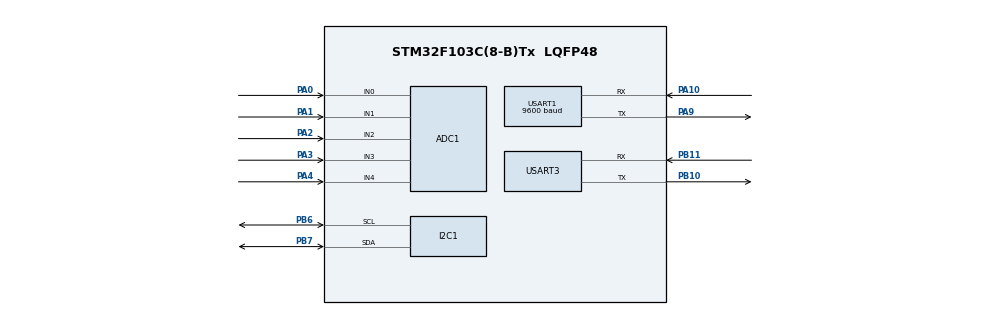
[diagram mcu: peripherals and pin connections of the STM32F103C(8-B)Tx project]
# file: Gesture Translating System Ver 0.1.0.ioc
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ADC1.Channel-0\#ChannelRegularConversion=ADC_CHANNEL_0
ADC1.Channel-1\#ChannelRegularConversion=ADC_CHANNEL_1
ADC1.Channel-2\#ChannelRegularConversion=ADC_CHANNEL_2
ADC1.Channel-3\#ChannelRegularConversion=ADC_CHANNEL_3
ADC1.Channel-4\#ChannelRegularConversion=ADC_CHANNEL_4
ADC1.NbrOfConversion=5
ADC1.NbrOfConversionFlag=1
ADC1.Rank-0\#ChannelRegularConversion=1
ADC1.Rank-1\#ChannelRegularConversion=2
ADC1.Rank-2\#ChannelRegularConversion=3
ADC1.Rank-3\#ChannelRegularConversion=4
ADC1.Rank-4\#ChannelRegularConversion=5
ADC1.SamplingTime-0\#ChannelRegularConversion=ADC_SAMPLETIME_13CYCLES_5
ADC1.SamplingTime-1\#ChannelRegularConversion=ADC_SAMPLETIME_13CYCLES_5
ADC1.SamplingTime-2\#ChannelRegularConversion=ADC_SAMPLETIME_13CYCLES_5
ADC1.SamplingTime-3\#ChannelRegularConversion=ADC_SAMPLETIME_13CYCLES_5
ADC1.SamplingTime-4\#ChannelRegularConversion=ADC_SAMPLETIME_13CYCLES_5
ADC1.master=1
Dma.ADC1.0.Direction=DMA_PERIPH_TO_MEMORY
Dma.ADC1.0.Instance=DMA1_Channel1
Dma.ADC1.0.MemDataAlignment=DMA_MDATAALIGN_HALFWORD
Dma.ADC1.0.MemInc=DMA_MINC_ENABLE
Dma.ADC1.0.Mode=DMA_CIRCULAR
Dma.ADC1.0.PeriphDataAlignment=DMA_PDATAALIGN_HALFWORD
Dma.ADC1.0.PeriphInc=DMA_PINC_DISABLE
Dma.ADC1.0.Priority=DMA_PRIORITY_LOW
Dma.Request0=ADC1
Mcu.Family=STM32F1
Mcu.Name=STM32F103C(8-B)Tx
Mcu.Package=LQFP48
NVIC.DMA1_Channel1_IRQn=true\:0\:0\:false\:false\:true\:false\:true\:true
NVIC.PriorityGroup=NVIC_PRIORITYGROUP_4
NVIC.USART1_IRQn=true\:0\:0\:false\:false\:true\:true\:true\:true
PA0-WKUP.Signal=ADCx_IN0
PA1.Signal=ADCx_IN1
PA10.Mode=Asynchronous
PA10.Signal=USART1_RX
PA13.Mode=Serial_Wire
PA13.Signal=SYS_JTMS-SWDIO
PA14.Mode=Serial_Wire
PA14.Signal=SYS_JTCK-SWCLK
PA2.Signal=ADCx_IN2
PA3.Signal=ADCx_IN3
PA4.Signal=ADCx_IN4
PA9.Mode=Asynchronous
PA9.Signal=USART1_TX
PB10.Mode=Asynchronous
PB10.Signal=USART3_TX
PB11.Mode=Asynchronous
PB11.Signal=USART3_RX
PB6.Mode=I2C
PB6.Signal=I2C1_SCL
PB7.Mode=I2C
PB7.Signal=I2C1_SDA
ProjectManager.HeapSize=0x200
ProjectManager.StackSize=0x400
ProjectManager.TargetToolchain=STM32CubeIDE
RCC.APB1Freq_Value=8000000
RCC.APB2Freq_Value=8000000
SH.ADCx_IN0.0=ADC1_IN0,IN0
SH.ADCx_IN1.0=ADC1_IN1,IN1
SH.ADCx_IN2.0=ADC1_IN2,IN2
SH.ADCx_IN3.0=ADC1_IN3,IN3
SH.ADCx_IN4.0=ADC1_IN4,IN4
USART1.BaudRate=9600
USART1.VirtualMode=VM_ASYNC
USART3.VirtualMode=VM_ASYNC
board=custom

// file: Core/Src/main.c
/* USER CODE BEGIN Header */
/**
  ******************************************************************************
  * @file           : main.c
  * @brief          : Main program body
  ******************************************************************************
  * @attention
  *
  * Copyright (c) 2023 STMicroelectronics.
  * All rights reserved.
  *
  * This software is licensed under terms that can be found in the LICENSE file
  * in the root directory of this software component.
  * If no LICENSE file comes with this software, it is provided AS-IS.
  *
  ******************************************************************************
  */
/* USER CODE END Header */
#include "main.h"

/* USER CODE BEGIN Includes */
#include "stdio.h"
#include "DFPLAYER.h"
#include "i2c-lcd.h"
#include <String.h>
#include <math.h>
#include <stdlib.h>
/* USER CODE END Includes */

/* USER CODE BEGIN PTD */

DFPLAYER_Name MP3;
/* USER CODE END PTD */

ADC_HandleTypeDef hadc1;
DMA_HandleTypeDef hdma_adc1;

I2C_HandleTypeDef hi2c1;

UART_HandleTypeDef huart1;
UART_HandleTypeDef huart3;

/* USER CODE BEGIN PV */
uint16_t flex[5];
char* send_string;

/* USER CODE END PV */

void SystemClock_Config(void);
static void MX_GPIO_Init(void);
static void MX_DMA_Init(void);
static void MX_ADC1_Init(void);
static void MX_I2C1_Init(void);
static void MX_USART1_UART_Init(void);
static void MX_USART3_UART_Init(void);

/* USER CODE BEGIN 0 */
/******************************************************************************/

#define MPU6050_ADDR 0xD0

#define SMPLRT_DIV_REG 0x19
#define GYRO_CONFIG_REG 0x1B
#define ACCEL_CONFIG_REG 0x1C
#define ACCEL_XOUT_H_REG 0x3B
#define TEMP_OUT_H_REG 0x41
#define GYRO_XOUT_H_REG 0x43
#define PWR_MGMT_1_REG 0x6B
#define WHO_AM_I_REG 0x75

#define CONTAINER_SIZE 10
#define GESTURE_SIZE 5
#define NUM_GESTURES 4
/******************************************************************************/

int16_t Accel_X_RAW = 0;
int16_t Accel_Y_RAW = 0;
int16_t Accel_Z_RAW = 0;

int16_t Gyro_X_RAW = 0;
int16_t Gyro_Y_RAW = 0;
int16_t Gyro_Z_RAW = 0;
/******************************************************************************/

int palm_stat = 0;
int arm_position_vertical = 0;

int arm_movement_horizonal = 0;
int arm_movement_vertical = 0;
int arm_movement_rotation = 0;

float Ax, Ay, Az;
int Gx, Gy, Gz;
/******************************************************************************/
int hit;
char buffer[12];
int number;
/******************************************************************************/

unsigned long long int gesture0[GESTURE_SIZE] = {11000000031, 11000000231, 11000000031,	11000000131, 11000000031}; //xin chao
unsigned long long int gesture1[GESTURE_SIZE] = {10000000041, 10000000141, 10000000041, 10000000241, 10000000041}; //tam biet
unsigned long long int gesture2[GESTURE_SIZE] = {10122200022, 10022200022, 10122200022, 10022200022, 10122200022}; // thanh toan
unsigned long long int gesture3[GESTURE_SIZE] = {10000000021, 10000000121, 10000000021,	10000000221, 10000000021}; // xin loi
//unsigned long long int gesture4[GESTURE_SIZE] = {11011100041, 11011100041, 11011100041, 11011100041, 11011100041}; // tinh tien

unsigned long long int vectorOfGestures[NUM_GESTURES][GESTURE_SIZE] = {
	{11000000031, 11000000231, 11000000031,	11000000131, 11000000031},
	{10000000041, 10000000141, 10000000041, 10000000241, 10000000041},
	{10122200022, 10022200022, 10122200022, 10022200022, 10122200022},
	{10000000021, 10000000121, 10000000021,	10000000221, 10000000021}
//	{11011100041, 11011100041, 11011100041, 11011100041, 11011100041}
};

unsigned long long int container[CONTAINER_SIZE] = {0, 0, 0, 0, 0, 0, 0, 0, 0, 0};
/******************************************************************************/

unsigned long long int code;			//Number that display the fingers's status
int	finger_stat[5] = {0, 0, 0, 0, 0};	//Array storing the fingers's status number (0, 1 or 2)
int max[5] = {0, 0, 0, 0, 0};			//Array storing the maximum input of each finger
int min[5] = {0, 0, 0, 0, 0};			//Array storing the minimum input of each finger
/******************************************************************************/

void MPU6050_Init (void) {
	uint8_t check;
	uint8_t Data;

	// check device ID WHO_AM_I

	HAL_I2C_Mem_Read (&hi2c1, MPU6050_ADDR,WHO_AM_I_REG,1, &check, 1, 1000);

	if (check == 104)  // 0x68 will be returned by the sensor if everything goes well
	{
		// power management register 0X6B we should write all 0's to wake the sensor up
		Data = 0;
		HAL_I2C_Mem_Write(&hi2c1, MPU6050_ADDR, PWR_MGMT_1_REG, 1,&Data, 1, 1000);

		// Set DATA RATE of 1KHz by writing SMPLRT_DIV register
		Data = 0x07;
		HAL_I2C_Mem_Write(&hi2c1, MPU6050_ADDR, SMPLRT_DIV_REG, 1, &Data, 1, 1000);

		// Set accelerometer configuration in ACCEL_CONFIG Register
		// XA_ST=0,YA_ST=0,ZA_ST=0, FS_SEL=0 -> ± 2g
		Data = 0x00;
		HAL_I2C_Mem_Write(&hi2c1, MPU6050_ADDR, ACCEL_CONFIG_REG, 1, &Data, 1, 1000);

		// Set Gyroscopic configuration in GYRO_CONFIG Register
		// XG_ST=0,YG_ST=0,ZG_ST=0, FS_SEL=0 -> ± 250 °/s
		Data = 0x00;
		HAL_I2C_Mem_Write(&hi2c1, MPU6050_ADDR, GYRO_CONFIG_REG, 1, &Data, 1, 1000);
	}

}
/******************************************************************************/

void MPU6050_Read_Accel (void) {
	uint8_t Rec_Data[6];

	// Read 6 BYTES of data starting from ACCEL_XOUT_H register

	HAL_I2C_Mem_Read (&hi2c1, MPU6050_ADDR, ACCEL_XOUT_H_REG, 1, Rec_Data, 6, 1000);

	Accel_X_RAW = (int16_t)(Rec_Data[0] << 8 | Rec_Data [1]);
	Accel_Y_RAW = (int16_t)(Rec_Data[2] << 8 | Rec_Data [3]);
	Accel_Z_RAW = (int16_t)(Rec_Data[4] << 8 | Rec_Data [5]);

	/*** convert the RAW values into acceleration in 'g'
	     we have to divide according to the Full scale value set in FS_SEL
	     I have configured FS_SEL = 0. So I am dividing by 16384.0
	     for more details check ACCEL_CONFIG Register              ****/

	Ax = Accel_X_RAW/16384.0;
	Ay = Accel_Y_RAW/16384.0;
	Az = Accel_Z_RAW/16384.0;
}
/******************************************************************************/

void MPU6050_Read_Gyro (void) {
	uint8_t Rec_Data[6];

	// Read 6 BYTES of data starting from GYRO_XOUT_H register

	HAL_I2C_Mem_Read (&hi2c1, MPU6050_ADDR, GYRO_XOUT_H_REG, 1, Rec_Data, 6, 1000);

	Gyro_X_RAW = (int16_t)(Rec_Data[0] << 8 | Rec_Data [1]);
	Gyro_Y_RAW = (int16_t)(Rec_Data[2] << 8 | Rec_Data [3]);
	Gyro_Z_RAW = (int16_t)(Rec_Data[4] << 8 | Rec_Data [5]);

	/*** convert the RAW values into dps (°/s)
	     we have to divide according to the Full scale value set in FS_SEL
	     I have configured FS_SEL = 0. So I am dividing by 131.0
	     for more details check GYRO_CONFIG Register              ****/

	Gx = Gyro_X_RAW/131.0;
	Gy = Gyro_Y_RAW/131.0;
	Gz = Gyro_Z_RAW/131.0;
}
/******************************************************************************/

void acceleration_input_processing(){
	  if(Gx < -40){
		  arm_movement_vertical = 2;
	  } else if (Gx < 40){
		  arm_movement_vertical = 0;
	  } else {
		  arm_movement_vertical = 1;
	  }

	  if(Gy < -40){
		  arm_movement_rotation = 2;
	  } else if (Gy < 40){
		  arm_movement_rotation = 0;
	  } else {
		  arm_movement_rotation = 1;
	  }

	  if(Gz < -40){
		  arm_movement_horizonal = 2;
	  } else if (Gz < 40){
		  arm_movement_horizonal = 0;
	  } else {
		  arm_movement_horizonal = 1;
	  }
}
/******************************************************************************/

void gyroscope_input_processing(){
	if(Ax > -0.7 && Ax < 0.7){
		if (Az > -0.5){
			palm_stat = 1;
		} else {
			palm_stat = 2;
		}
	} else {
		palm_stat = 0;
	}

	if(Ay < -0.8){
		arm_position_vertical = 0;
	} else if(Ay < -0.3 ){
		arm_position_vertical = 1;
	} else if(Ay < 0.3 ){
		arm_position_vertical = 2;
	} else if(Ay < 0.8 ){
		arm_position_vertical = 3;
	}	else {
		arm_position_vertical = 4;
	}
}

/***********************************************************************************
	Function that processing the input value
	- Input: Index (Order of the finger)
	- Output: Post - processing input value (Finger status, value: 0, 1 or 2)
***********************************************************************************/
int input_processing(int index){

	//Finding the minimum input value
	  if (min[index] == 0 || flex[index] < min[index]){
		  min[index] = flex[index];
	  }

	//Finding the maximum input value
	  if (flex[index] > max[index]){
		  max[index] = flex[index];
	  };

	//Defying the division mark
	  int tri = (max[index] - min[index])/3;

	//Dividing the input range into 3 stage: 0 for maximum, 1 for medium and 2 for minium
	  if(flex[index] > min[index] + 2 * tri){
		  return 0;
	  } else if (flex[index] > min[index] + 0.75 * tri){
		  return 1;
	  } else {
		  return 2;
	  }
}
/******************************************************************************/

int containsAndRemoveSubVector(unsigned long long int container[], int containerSize,
								unsigned long long int sample[], int sampleSize) {
    if (sampleSize == 0 || containerSize == 0 || sampleSize > containerSize) {
        return 0;
    }

    for (int i = 0; i <= containerSize - sampleSize; ++i) {
        int found = 1;
        for (int j = 0; j < sampleSize; ++j) {
            if (container[i + j] != sample[j]) {
                found = 0;
                break;
            }
        }
        if (found) {
            // Remove the sample array from the container array
            for (int k = i; k < containerSize; k++) {
                container[k] = 0;
            }
            return 1;
        }
    }
    return 0;
}
/******************************************************************************/
void dataProcessing(unsigned long long int inp_data) {
    if (container[CONTAINER_SIZE - 1] == inp_data) return;
	// O(n) can be improved
	for (int i = 0; i < CONTAINER_SIZE - 1; i++) {
        container[i] = container[i + 1];
    }
    container[CONTAINER_SIZE - 1] = inp_data;

    for (int i = 0; i < NUM_GESTURES; i++) {
        if (containsAndRemoveSubVector(container, CONTAINER_SIZE, vectorOfGestures[i], GESTURE_SIZE)) {
        	number = i;
        	hit = 1;
            return;
        }
    }
}
/***********************************************/
/* USER CODE END 0 */

int main(void)
{

  /* MCU Configuration--------------------------------------------------------*/

  /* Reset of all peripherals, Initializes the Flash interface and the Systick. */
  HAL_Init();

  /* Configure the system clock */
  SystemClock_Config();

  /* Initialize all configured peripherals */
  MX_GPIO_Init();
  MX_DMA_Init();
  MX_ADC1_Init();
  MX_I2C1_Init();
  MX_USART1_UART_Init();
  MX_USART3_UART_Init();
  /* USER CODE BEGIN 2 */
  DFPLAYER_Init(&MP3, &huart1);
  DFPLAYER_SetVolume(&MP3, 20);
  lcd_init();
  lcd_clear_display();
  MPU6050_Init();
  //Showing start message
  lcd_goto_XY(1, 1);
  lcd_send_string("\nCalibrating...");
  HAL_Delay(1000);
  //Clear the LCD display again
  lcd_clear_display();

  /* USER CODE END 2 */

  /* Infinite loop */
  while (1)
  {

    /* USER CODE BEGIN 3 */

	  HAL_ADC_Start_DMA(&hadc1, (uint32_t*)flex, 5);
	  MPU6050_Read_Accel();
	  MPU6050_Read_Gyro();

	  hit = 0;

	  acceleration_input_processing();
	  gyroscope_input_processing();

	  //Processing the input value
	  for(int i = 0; i < 5; i++){
		  finger_stat[i] = input_processing(i);
	  }

	  code = 10000000000 + palm_stat			//Up: 1; Ngang: 0; Ngua: 2
			+ arm_position_vertical * 10		//Goc cao xuong thap: 4 - 3 - 2 - 1 - 0
			+ arm_movement_horizonal * 100		//Huong trai: 1, huong phai: 2
			+ arm_movement_vertical * 1000		//Huong len: 1, huong xuong: 2
			+ arm_movement_rotation * 10000		//Mo ra: 1, up lai: 2
			+ finger_stat[0] * 100000			//Duoi: 0, gap vua: 1, gap han: 2
			+ finger_stat[1] * 1000000
			+ finger_stat[2] * 10000000
			+ finger_stat[3] * 100000000
			+ finger_stat[4] * 1000000000;

	  //Display the status code in LCD (debug config)
	  lcd_goto_XY(2, 1);
	  sprintf (buffer, "/%llu ", code);
	  lcd_send_string(buffer);

	  //Process function
	  dataProcessing(code);

	  //Display gesture output in LCD (debug config)
	  lcd_goto_XY(1, 1);
	  sprintf (buffer, "/%d ", number);
	  lcd_send_string(buffer);

	  if (hit == 1){
		  switch (number){
			  case 0:
				  send_string = "\nXin chao ";
				  HAL_UART_Transmit(&huart1, (uint8_t*)send_string, strlen(send_string), 1000);
 //				  DFPLAYER_PlayFileInFolder(&MP3, 01, 002);
				  break;
			  case 1:
				  send_string = "\nTam biet ";
				  HAL_UART_Transmit(&huart1, (uint8_t*)send_string, strlen(send_string), 1000);
//				  DFPLAYER_PlayFileInFolder(&MP3, 01, 001);
				  break;
			  case 2:
				  send_string = "\nThanh toan ";
				  HAL_UART_Transmit(&huart1, (uint8_t*)send_string, strlen(send_string), 1000);
//				  DFPLAYER_PlayFileInFolder(&MP3, 01, 003);
				  break;
			  case 3:
				  send_string = "\nXin loi ";
				  HAL_UART_Transmit(&huart1, (uint8_t*)send_string, strlen(send_string), 1000);
//				  DFPLAYER_PlayFileInFolder(&MP3, 01, 004);
				  break;

		  }
	  }

	  HAL_Delay(200);
	}

  /* USER CODE END 3 */
}

void SystemClock_Config(void)
{
  RCC_OscInitTypeDef RCC_OscInitStruct = {0};
  RCC_ClkInitTypeDef RCC_ClkInitStruct = {0};
  RCC_PeriphCLKInitTypeDef PeriphClkInit = {0};

  /** Initializes the RCC Oscillators according to the specified parameters
  * in the RCC_OscInitTypeDef structure.
  */
  RCC_OscInitStruct.OscillatorType = RCC_OSCILLATORTYPE_HSI;
  RCC_OscInitStruct.HSIState = RCC_HSI_ON;
  RCC_OscInitStruct.HSICalibrationValue = RCC_HSICALIBRATION_DEFAULT;
  RCC_OscInitStruct.PLL.PLLState = RCC_PLL_NONE;
  if (HAL_RCC_OscConfig(&RCC_OscInitStruct) != HAL_OK)
  {
    Error_Handler();
  }

  /** Initializes the CPU, AHB and APB buses clocks
  */
  RCC_ClkInitStruct.ClockType = RCC_CLOCKTYPE_HCLK|RCC_CLOCKTYPE_SYSCLK
                              |RCC_CLOCKTYPE_PCLK1|RCC_CLOCKTYPE_PCLK2;
  RCC_ClkInitStruct.SYSCLKSource = RCC_SYSCLKSOURCE_HSI;
  RCC_ClkInitStruct.AHBCLKDivider = RCC_SYSCLK_DIV1;
  RCC_ClkInitStruct.APB1CLKDivider = RCC_HCLK_DIV1;
  RCC_ClkInitStruct.APB2CLKDivider = RCC_HCLK_DIV1;

  if (HAL_RCC_ClockConfig(&RCC_ClkInitStruct, FLASH_LATENCY_0) != HAL_OK)
  {
    Error_Handler();
  }
  PeriphClkInit.PeriphClockSelection = RCC_PERIPHCLK_ADC;
  PeriphClkInit.AdcClockSelection = RCC_ADCPCLK2_DIV2;
  if (HAL_RCCEx_PeriphCLKConfig(&PeriphClkInit) != HAL_OK)
  {
    Error_Handler();
  }
}

static void MX_ADC1_Init(void)
{

  ADC_ChannelConfTypeDef sConfig = {0};

  /** Common config
  */
  hadc1.Instance = ADC1;
  hadc1.Init.ScanConvMode = ADC_SCAN_ENABLE;
  hadc1.Init.ContinuousConvMode = DISABLE;
  hadc1.Init.DiscontinuousConvMode = DISABLE;
  hadc1.Init.ExternalTrigConv = ADC_SOFTWARE_START;
  hadc1.Init.DataAlign = ADC_DATAALIGN_RIGHT;
  hadc1.Init.NbrOfConversion = 5;
  if (HAL_ADC_Init(&hadc1) != HAL_OK)
  {
    Error_Handler();
  }

  /** Configure Regular Channel
  */
  sConfig.Channel = ADC_CHANNEL_0;
  sConfig.Rank = ADC_REGULAR_RANK_1;
  sConfig.SamplingTime = ADC_SAMPLETIME_13CYCLES_5;
  if (HAL_ADC_ConfigChannel(&hadc1, &sConfig) != HAL_OK)
  {
    Error_Handler();
  }

  /** Configure Regular Channel
  */
  sConfig.Channel = ADC_CHANNEL_1;
  sConfig.Rank = ADC_REGULAR_RANK_2;
  if (HAL_ADC_ConfigChannel(&hadc1, &sConfig) != HAL_OK)
  {
    Error_Handler();
  }

  /** Configure Regular Channel
  */
  sConfig.Channel = ADC_CHANNEL_2;
  sConfig.Rank = ADC_REGULAR_RANK_3;
  if (HAL_ADC_ConfigChannel(&hadc1, &sConfig) != HAL_OK)
  {
    Error_Handler();
  }

  /** Configure Regular Channel
  */
  sConfig.Channel = ADC_CHANNEL_3;
  sConfig.Rank = ADC_REGULAR_RANK_4;
  if (HAL_ADC_ConfigChannel(&hadc1, &sConfig) != HAL_OK)
  {
    Error_Handler();
  }

  /** Configure Regular Channel
  */
  sConfig.Channel = ADC_CHANNEL_4;
  sConfig.Rank = ADC_REGULAR_RANK_5;
  if (HAL_ADC_ConfigChannel(&hadc1, &sConfig) != HAL_OK)
  {
    Error_Handler();
  }

}

static void MX_I2C1_Init(void)
{

  hi2c1.Instance = I2C1;
  hi2c1.Init.ClockSpeed = 100000;
  hi2c1.Init.DutyCycle = I2C_DUTYCYCLE_2;
  hi2c1.Init.OwnAddress1 = 0;
  hi2c1.Init.AddressingMode = I2C_ADDRESSINGMODE_7BIT;
  hi2c1.Init.DualAddressMode = I2C_DUALADDRESS_DISABLE;
  hi2c1.Init.OwnAddress2 = 0;
  hi2c1.Init.GeneralCallMode = I2C_GENERALCALL_DISABLE;
  hi2c1.Init.NoStretchMode = I2C_NOSTRETCH_DISABLE;
  if (HAL_I2C_Init(&hi2c1) != HAL_OK)
  {
    Error_Handler();
  }

}

static void MX_USART1_UART_Init(void)
{

  huart1.Instance = USART1;
  huart1.Init.BaudRate = 9600;
  huart1.Init.WordLength = UART_WORDLENGTH_8B;
  huart1.Init.StopBits = UART_STOPBITS_1;
  huart1.Init.Parity = UART_PARITY_NONE;
  huart1.Init.Mode = UART_MODE_TX_RX;
  huart1.Init.HwFlowCtl = UART_HWCONTROL_NONE;
  huart1.Init.OverSampling = UART_OVERSAMPLING_16;
  if (HAL_UART_Init(&huart1) != HAL_OK)
  {
    Error_Handler();
  }

}

static void MX_USART3_UART_Init(void)
{

  huart3.Instance = USART3;
  huart3.Init.BaudRate = 115200;
  huart3.Init.WordLength = UART_WORDLENGTH_8B;
  huart3.Init.StopBits = UART_STOPBITS_1;
  huart3.Init.Parity = UART_PARITY_NONE;
  huart3.Init.Mode = UART_MODE_TX_RX;
  huart3.Init.HwFlowCtl = UART_HWCONTROL_NONE;
  huart3.Init.OverSampling = UART_OVERSAMPLING_16;
  if (HAL_UART_Init(&huart3) != HAL_OK)
  {
    Error_Handler();
  }

}

static void MX_DMA_Init(void)
{

  /* DMA controller clock enable */
  __HAL_RCC_DMA1_CLK_ENABLE();

  /* DMA interrupt init */
  /* DMA1_Channel1_IRQn interrupt configuration */
  HAL_NVIC_SetPriority(DMA1_Channel1_IRQn, 0, 0);
  HAL_NVIC_EnableIRQ(DMA1_Channel1_IRQn);

}

static void MX_GPIO_Init(void)
{

  /* GPIO Ports Clock Enable */
  __HAL_RCC_GPIOA_CLK_ENABLE();
  __HAL_RCC_GPIOB_CLK_ENABLE();

}

void Error_Handler(void)
{
  __disable_irq();
  while (1)
  {
  }
}
